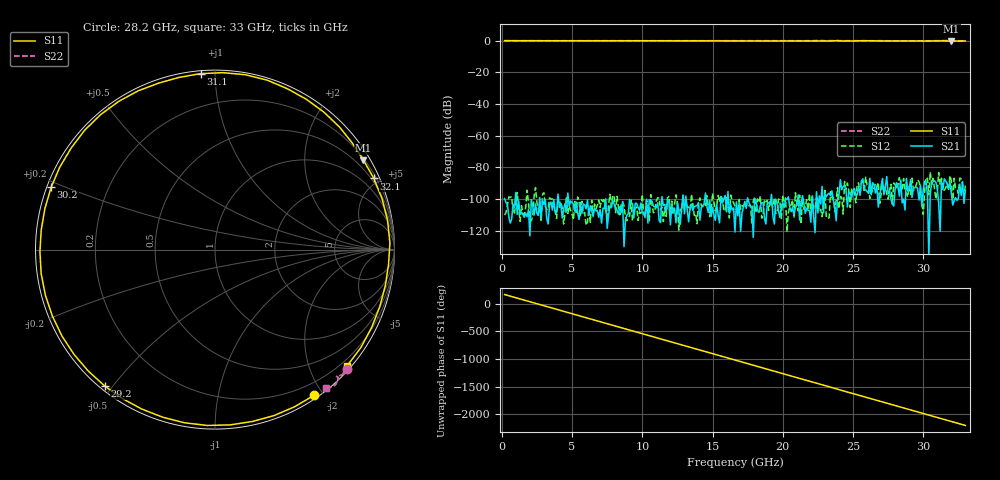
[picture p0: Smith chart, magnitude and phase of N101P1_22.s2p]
# GHZ S RI R 50
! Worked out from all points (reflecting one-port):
!   329 points, 200 MHz to 33 GHz, reference 50 ohm
!   lowest |S11| = -0.3 dB at 32 GHz (marker M1), VSWR 57.28, Z = 12.1 + j179 ohm
!   phase of S11 starts at 165 deg and turns -2367 deg over the sweep
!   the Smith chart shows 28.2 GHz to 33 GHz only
!   S11 on the Smith chart (normalised r, x): 28.2 GHz: 0.04, -1.88; 29.2 GHz: 0.01, -0.48; 30.2 GHz: 0.01, +0.18; 31.1 GHz: 0.02, +0.92; 32.1 GHz: 0.35, +4.65; 33 GHz: 0.08, -2.64
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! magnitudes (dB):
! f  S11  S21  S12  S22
! 200 MHz  0.0  -99.7  -110.2  0.0
! 5.7 GHz  -0.1  -109.1  -101.5  0.0
! 11.2 GHz  -0.1  -113.6  -99.8  0.0
! 16.6 GHz  -0.1  -120.9  -104.9  0.0
! 22.1 GHz  -0.2  -98.2  -97.5  0.0
! 22.6 GHz  -0.2  -98.1  -107.7  0.1
! 23 GHz  -0.2  -96.6  -94.6  0.0
! 23.3 GHz  -0.2  -96.4  -111.9  0.0
! 23.9 GHz  0.0  -100.0  -92.8  0.1
! 24.3 GHz  -0.2  -92.0  -109.6  0.0
! 24.6 GHz  -0.1  -105.1  -90.0  0.0
! 25 GHz  -0.2  -94.5  -95.4  0.0
! 25.6 GHz  0.0  -88.8  -89.7  0.0
! 27.6 GHz  -0.2  -95.2  -94.9  -0.1
! 28.2 GHz  -0.2  -92.1  -90.9  -0.1
! 29.2 GHz  -0.2  -99.1  -86.9  -0.1
! 30.2 GHz  -0.2  -89.3  -86.4  -0.2
! 31.1 GHz  -0.1  -103.0  -83.3  0.0
! 31.4 GHz  -0.1  -94.2  -94.6  0.0
! 32 GHz  -0.3  -96.6  -88.3  0.0
! 32.1 GHz  -0.3  -103.9  -103.2  0.0
! 33 GHz  -0.2  -94.6  -91.3  -0.1
